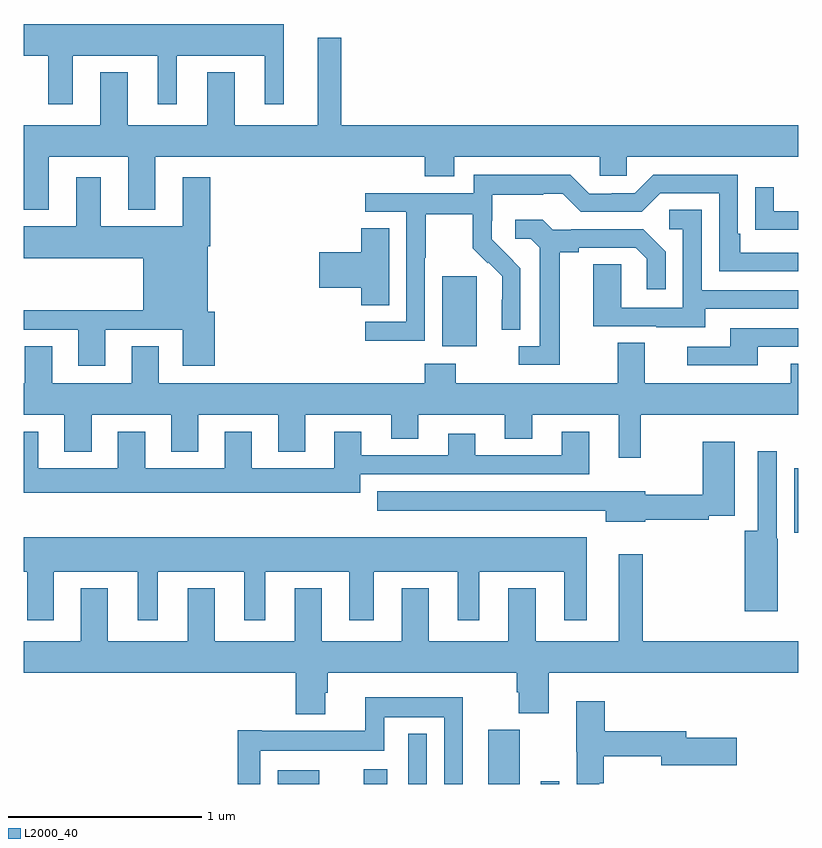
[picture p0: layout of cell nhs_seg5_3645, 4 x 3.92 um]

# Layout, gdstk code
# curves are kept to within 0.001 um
import gdstk
lib = gdstk.Library(unit=1e-6, precision=1e-09)
def R(c, l, rs):  # rectangles x0, y0, x1, y1
    for r in rs: c.add(gdstk.rectangle(r[:2], r[2:], *l))
def P(c, l, *ps):  # polygons
    for p in ps: c.add(gdstk.Polygon(p, *l))
L2000_40 = (2000, 40)

nhs_seg5_3645 = lib.new_cell('nhs_seg5_3645')
R(nhs_seg5_3645, L2000_40, [(326.312,910.799,326.527,910.87), (326.756,910.799,326.878,910.876), (326.985,910.799,327.081,911.059), (327.398,910.799,327.562,911.079), (327.669,910.799,327.765,910.813), (328.977,912.096,329,912.43), (327.161,913.058,327.34,913.419)])
P(nhs_seg5_3645, L2000_40, [(325.255,914.558),(325.694,914.558),(325.694,914.307),(325.792,914.307),(325.792,914.558),(326.246,914.558),(326.246,914.307),(326.344,914.307),(326.344,914.722),(325,914.722),(325,914.558),(325.127,914.558),(325.127,914.307),(325.255,914.307)],
  [(325.129,914.036),(325.541,914.036),(325.541,913.763),(325.681,913.763),(325.681,914.036),(327.071,914.036),(327.071,913.937),(327.223,913.937),(327.223,914.036),(327.975,914.036),(327.975,913.938),(328.113,913.938),(328.113,914.036),(329,914.036),(329,914.2),(326.641,914.2),(326.641,914.65),(326.519,914.65),(326.519,914.2),(326.089,914.2),(326.089,914.473),(325.949,914.473),(325.949,914.2),(325.537,914.2),(325.537,914.473),(325.397,914.473),(325.397,914.2),(325,914.2),(325,913.763),(325.129,913.763)],
  [(327.072,913.516),(327.075,913.516),(327.075,913.74),(327.319,913.74),(327.319,913.565),(327.396,913.488),(327.399,913.491),(327.47,913.421),(327.47,913.298),(327.468,913.298),(327.468,913.144),(327.564,913.144),(327.564,913.462),(327.418,913.61),(327.418,913.707),(327.42,913.707),(327.42,913.841),(327.683,913.841),(327.683,913.845),(327.783,913.845),(327.876,913.752),(328.191,913.752),(328.287,913.848),(328.59,913.848),(328.59,913.446),(329,913.446),(329,913.542),(328.699,913.542),(328.699,913.639),(328.686,913.639),(328.686,913.944),(328.251,913.944),(328.155,913.848),(328.037,913.848),(328.037,913.845),(327.921,913.845),(327.821,913.945),(327.324,913.945),(327.324,913.848),(326.763,913.848),(326.763,913.752),(326.976,913.752),(326.976,913.185),(326.763,913.185),(326.763,913.087),(327.072,913.087)],
  [(325.423,913.143),(325.823,913.143),(325.823,912.957),(325.988,912.957),(325.988,913.236),(325.951,913.236),(325.951,913.574),(325.964,913.574),(325.964,913.93),(325.823,913.93),(325.823,913.678),(325.399,913.678),(325.399,913.93),(325.271,913.93),(325.271,913.678),(325,913.678),(325,913.514),(325.619,913.514),(325.619,913.244),(325,913.244),(325,913.143),(325.283,913.143),(325.283,912.957),(325.423,912.957)],
  [(329,913.755),(328.873,913.755),(328.873,913.879),(328.777,913.879),(328.777,913.66),(328.879,913.66),(328.879,913.659),(329,913.659)],
  [(328.519,913.251),(329,913.251),(329,913.347),(328.5,913.347),(328.5,913.763),(328.332,913.763),(328.332,913.662),(328.404,913.662),(328.404,913.257),(328.086,913.257),(328.086,913.481),(327.941,913.481),(327.941,913.161),(328.265,913.161),(328.265,913.157),(328.519,913.157)],
  [(327.769,913.544),(327.865,913.544),(327.865,913.566),(328.16,913.566),(328.217,913.509),(328.217,913.353),(328.314,913.353),(328.314,913.546),(328.198,913.662),(327.826,913.662),(327.826,913.659),(327.732,913.659),(327.68,913.711),(327.537,913.711),(327.537,913.614),(327.618,913.614),(327.665,913.567),(327.665,913.059),(327.555,913.059),(327.555,912.963),(327.769,912.963)],
  [(326.887,913.667),(326.744,913.667),(326.744,913.544),(326.526,913.544),(326.526,913.361),(326.744,913.361),(326.744,913.27),(326.887,913.27)],
  [(328.789,913.056),(329,913.056),(329,913.152),(328.649,913.152),(328.649,913.056),(328.425,913.056),(328.425,912.96),(328.789,912.96)],
  [(328.187,912.704),(329,912.704),(329,912.967),(328.961,912.967),(328.961,912.868),(328.207,912.868),(328.207,913.076),(328.067,913.076),(328.067,912.868),(327.231,912.868),(327.231,912.967),(327.071,912.967),(327.071,912.868),(325.699,912.868),(325.699,913.058),(325.559,913.058),(325.559,912.868),(325.147,912.868),(325.147,913.058),(325.007,913.058),(325.007,912.868),(325,912.868),(325,912.704),(325.211,912.704),(325.211,912.515),(325.351,912.515),(325.351,912.704),(325.763,912.704),(325.763,912.515),(325.903,912.515),(325.903,912.704),(326.315,912.704),(326.315,912.515),(326.455,912.515),(326.455,912.704),(326.897,912.704),(326.897,912.58),(327.037,912.58),(327.037,912.704),(327.485,912.704),(327.485,912.58),(327.625,912.58),(327.625,912.704),(328.073,912.704),(328.073,912.483),(328.187,912.483)],
  [(326.737,912.399),(327.919,912.399),(327.919,912.616),(327.779,912.616),(327.779,912.495),(327.331,912.495),(327.331,912.607),(327.191,912.607),(327.191,912.495),(326.743,912.495),(326.743,912.616),(326.603,912.616),(326.603,912.43),(326.179,912.43),(326.179,912.616),(326.039,912.616),(326.039,912.43),(325.627,912.43),(325.627,912.616),(325.487,912.616),(325.487,912.43),(325.075,912.43),(325.075,912.616),(325,912.616),(325,912.302),(326.737,912.302)],
  [(328.21,912.163),(328.538,912.163),(328.538,912.183),(328.672,912.183),(328.672,912.565),(328.507,912.565),(328.507,912.292),(328.21,912.292),(328.21,912.31),(326.826,912.31),(326.826,912.209),(328.004,912.209),(328.004,912.152),(328.21,912.152)],
  [(328.894,912.066),(328.887,912.066),(328.887,912.517),(328.791,912.517),(328.791,912.106),(328.724,912.106),(328.724,911.69),(328.894,911.69)],
  [(325.156,911.894),(325.589,911.894),(325.589,911.643),(325.693,911.643),(325.693,911.894),(326.138,911.894),(326.138,911.643),(326.248,911.643),(326.248,911.894),(326.681,911.894),(326.681,911.643),(326.809,911.643),(326.809,911.894),(327.242,911.894),(327.242,911.643),(327.352,911.643),(327.352,911.894),(327.791,911.894),(327.791,911.643),(327.907,911.643),(327.907,912.073),(325,912.073),(325,911.894),(325.019,911.894),(325.019,911.643),(325.156,911.643)],
  [(326.557,911.271),(326.57,911.271),(326.57,911.372),(327.545,911.372),(327.545,911.273),(327.557,911.273),(327.557,911.164),(327.71,911.164),(327.71,911.372),(329,911.372),(329,911.536),(328.195,911.536),(328.195,911.986),(328.073,911.986),(328.073,911.536),(327.643,911.536),(327.643,911.809),(327.503,911.809),(327.503,911.536),(327.091,911.536),(327.091,911.809),(326.951,911.809),(326.951,911.536),(326.539,911.536),(326.539,911.809),(326.399,911.809),(326.399,911.536),(325.987,911.536),(325.987,911.809),(325.847,911.809),(325.847,911.536),(325.435,911.536),(325.435,911.809),(325.295,911.809),(325.295,911.536),(325,911.536),(325,911.372),(326.405,911.372),(326.405,911.159),(326.557,911.159)],
  [(326.223,910.97),(326.862,910.97),(326.862,911.144),(327.171,911.144),(327.171,910.799),(327.268,910.799),(327.268,911.248),(326.765,911.248),(326.765,911.074),(326.23,911.074),(326.23,911.077),(326.107,911.077),(326.107,910.799),(326.223,910.799)],
  [(327.971,910.802),(327.996,910.802),(327.996,910.942),(328.292,910.942),(328.292,910.895),(328.681,910.895),(328.681,911.037),(328.42,911.037),(328.42,911.071),(328.001,911.071),(328.001,911.227),(327.854,911.227),(327.854,910.965),(327.855,910.965),(327.855,910.799),(327.971,910.799)])

lib.write_gds('nhs_seg5_3645.gds')
